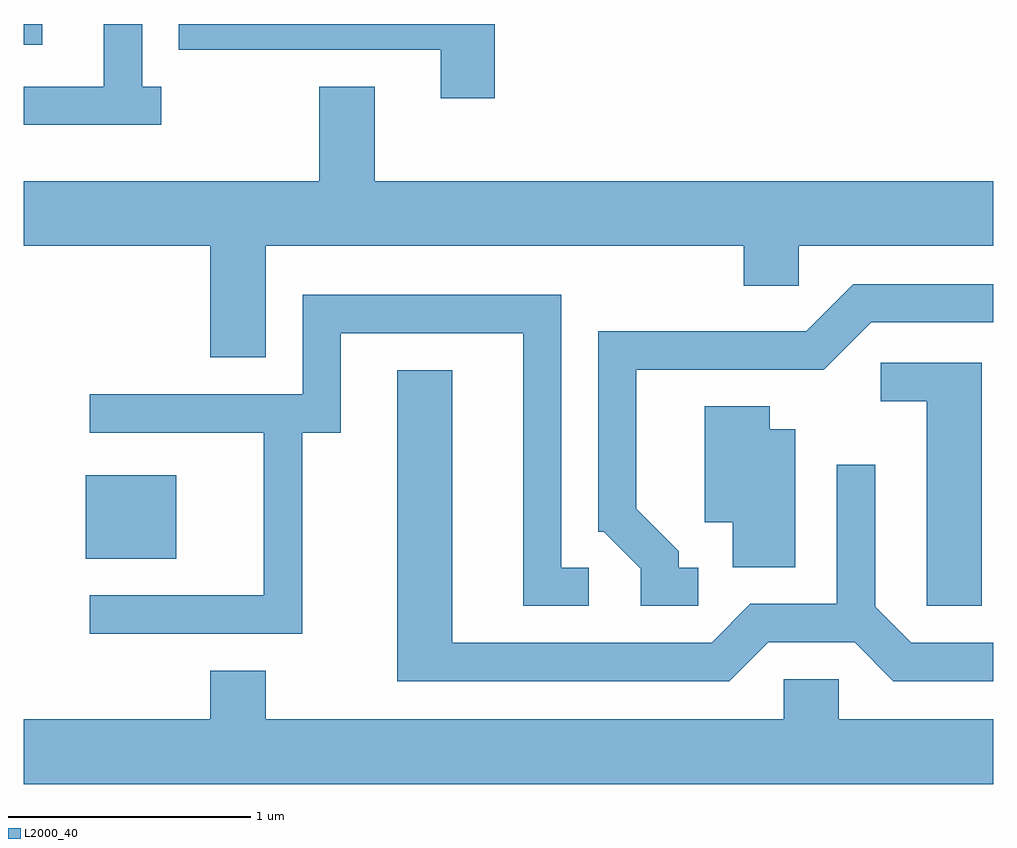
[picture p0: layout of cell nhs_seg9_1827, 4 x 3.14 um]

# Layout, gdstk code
import gdstk
lib = gdstk.Library(unit=1e-6, precision=1e-09)
def R(c, l, rs):  # rectangles x0, y0, x1, y1
    for r in rs: c.add(gdstk.rectangle(r[:2], r[2:], *l))
def P(c, l, *ps):  # polygons
    for p in ps: c.add(gdstk.Polygon(p, *l))
L2000_40 = (2000, 40)

nhs_seg9_1827 = lib.new_cell('nhs_seg9_1827')
R(nhs_seg9_1827, L2000_40, [(237.866,2068.226,238.239,2068.569), (237.611,2070.346,237.688,2070.432)])
P(nhs_seg9_1827, L2000_40, [(239.554,2070.432),(238.251,2070.432),(238.251,2070.326),(239.331,2070.326),(239.331,2070.126),(239.554,2070.126)],
  [(238.178,2070.174),(238.099,2070.174),(238.099,2070.432),(237.941,2070.432),(237.941,2070.174),(237.611,2070.174),(237.611,2070.016),(238.178,2070.016)],
  [(237.611,2069.516),(238.381,2069.516),(238.381,2069.056),(238.609,2069.056),(238.609,2069.516),(240.581,2069.516),(240.581,2069.351),(240.809,2069.351),(240.809,2069.516),(241.611,2069.516),(241.611,2069.784),(239.059,2069.784),(239.059,2070.174),(238.831,2070.174),(238.831,2069.784),(237.611,2069.784)],
  [(240.393,2068.189),(240.314,2068.189),(240.314,2068.257),(240.139,2068.432),(240.139,2069.006),(240.912,2069.006),(241.107,2069.201),(241.611,2069.201),(241.611,2069.359),(241.034,2069.359),(240.839,2069.164),(239.981,2069.164),(239.981,2068.336),(240.004,2068.336),(240.156,2068.184),(240.156,2068.031),(240.393,2068.031)],
  [(238.759,2068.746),(238.919,2068.746),(238.919,2069.156),(239.671,2069.156),(239.671,2068.031),(239.943,2068.031),(239.943,2068.189),(239.829,2068.189),(239.829,2069.314),(238.761,2069.314),(238.761,2068.904),(237.883,2068.904),(237.883,2068.746),(238.601,2068.746),(238.601,2068.074),(237.883,2068.074),(237.883,2067.916),(238.759,2067.916)],
  [(241.564,2069.034),(241.148,2069.034),(241.148,2068.876),(241.336,2068.876),(241.336,2068.031),(241.564,2068.031)],
  [(240.682,2067.881),(241.039,2067.881),(241.199,2067.721),(241.611,2067.721),(241.611,2067.879),(241.272,2067.879),(241.124,2068.027),(241.124,2068.613),(240.966,2068.613),(240.966,2068.039),(240.609,2068.039),(240.449,2067.879),(239.379,2067.879),(239.379,2069.004),(239.151,2069.004),(239.151,2067.721),(240.522,2067.721)],
  [(240.794,2068.759),(240.689,2068.759),(240.689,2068.854),(240.421,2068.854),(240.421,2068.376),(240.536,2068.376),(240.536,2068.191),(240.794,2068.191)],
  [(241.611,2067.564),(240.974,2067.564),(240.974,2067.729),(240.746,2067.729),(240.746,2067.564),(238.609,2067.564),(238.609,2067.764),(238.381,2067.764),(238.381,2067.564),(237.611,2067.564),(237.611,2067.296),(241.611,2067.296)])

lib.write_gds('nhs_seg9_1827.gds')
